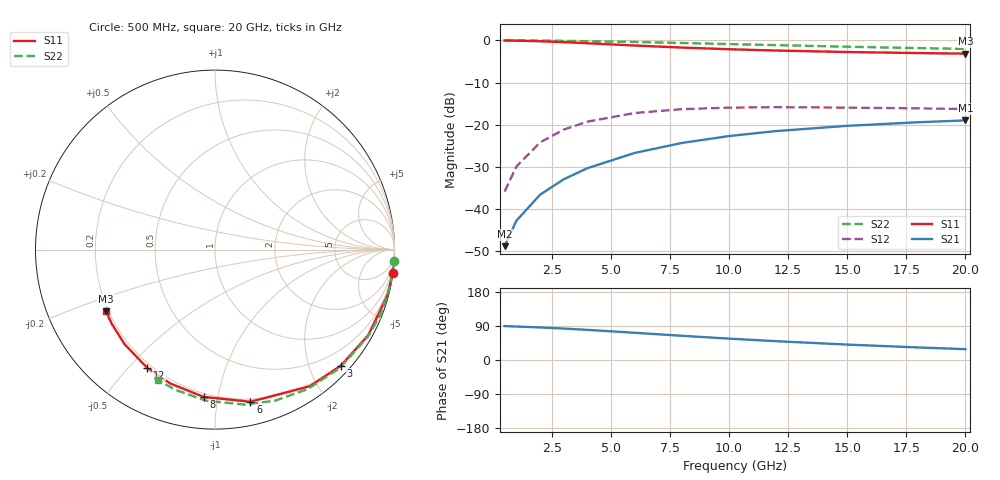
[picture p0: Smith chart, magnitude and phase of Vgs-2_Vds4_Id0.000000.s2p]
# Hz S RI R 50
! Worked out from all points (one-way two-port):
!   12 points, 500 MHz to 20 GHz, reference 50 ohm
!   highest |S21| = -18.97 dB at 20 GHz (marker M1); lowest = -48.8 dB at 500 MHz (marker M2)
!   lowest |S11| = -3.1 dB at 20 GHz (marker M3), VSWR 5.61, Z = 9.51 - j12.7 ohm
!   |S11| at or under -10 dB: nowhere
!   |S22| runs from -2.0 to 0.0 dB; largest |S21 - S12| = 0.12
!   S11 on the Smith chart (normalised r, x): 500 MHz: 0, -15; 3 GHz: 0.18, -2.55; 6 GHz: 0.18, -1.24; 8 GHz: 0.18, -0.91; 12 GHz: 0.18, -0.56; 20 GHz: 0.19, -0.25
5e8  0.9901 -0.1292  2.89e-05 0.00363  0.00153 0.0161  0.9975 -0.0657
1e9  0.9612 -0.2541  0.000217 0.00729  0.00601 0.0314  0.9901 -0.1309
2e9  0.8539 -0.4765  0.00107 0.0147  0.0224 0.0575  0.9609 -0.2577
3e9  0.7011 -0.647  0.00277 0.0224  0.0452 0.075  0.9141 -0.3764
4e9  0.5283 -0.761  0.00554 0.03  0.0699 0.0833  0.8521 -0.4846
6e9  0.1976 -0.8477  0.0144 0.044  0.1131 0.0788  0.6954 -0.6598
8e9  -0.0627 -0.8208  0.0268 0.0546  0.1408 0.0598  0.5155 -0.7775
1e10  -0.2489 -0.7461  0.0406 0.0612  0.155 0.0382  0.3345 -0.8417
1.2e10  -0.3786 -0.6577  0.0546 0.0641  0.1603 0.0188  0.1655 -0.8635
1.5e10  -0.5033 -0.5277  0.0736 0.0633  0.1597 -0.0038  -0.0522 -0.8412
1.8e10  -0.5763 -0.4117  0.0897 0.0585  0.1552 -0.0195  -0.224 -0.7798
2e10  -0.6073 -0.3429  0.0988 0.0539  0.1516 -0.0273  -0.3154 -0.7276
